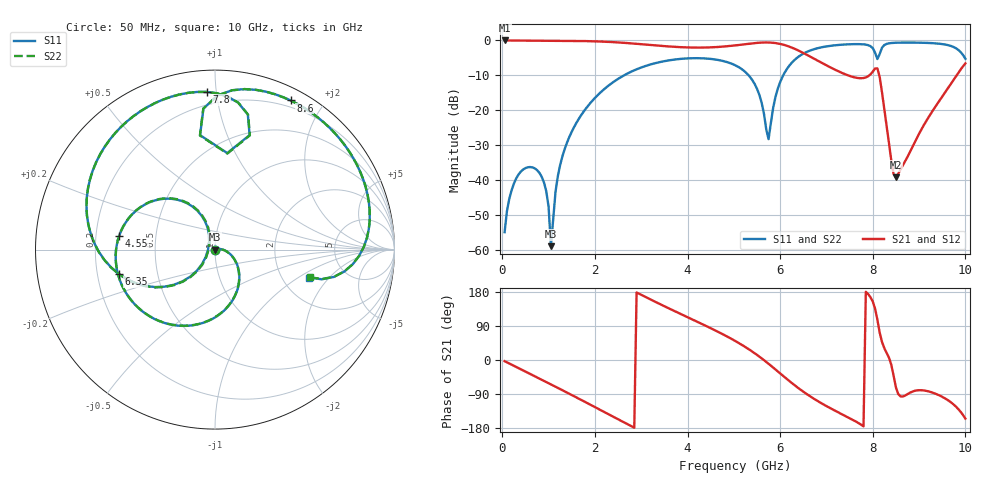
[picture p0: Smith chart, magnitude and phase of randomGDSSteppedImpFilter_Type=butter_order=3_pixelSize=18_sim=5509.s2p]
! freq	dB(S11)	phase(S11)	dB(S12)	phase(S12)
!  dB(S21)	phase(S21)	dB(S22)	phase(S22)
!S-par simulation data
#  GHz  S  DB  R 50
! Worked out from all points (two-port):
!   200 points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, 50 MHz to 10 GHz, reference 50 ohm
!   highest |S21| = 0.00 dB at 50 MHz (marker M1); lowest = -39.2 dB at 8.5 GHz (marker M2)
!   |S21| within 3 dB of the highest: start of sweep to 6.413 GHz
!   lowest |S11| = -58.9 dB at 1.05 GHz (marker M3), VSWR 1.00, Z = 49.9 + j0.0533 ohm
!   |S11| at or under -10 dB: start of sweep to 2.628 GHz; 5.32 GHz to 6.066 GHz (746.6 MHz wide, 13.1 % of centre)
!   |S22| runs from -58.7 to -0.6 dB; largest |S21 - S12| = 0
!   S11 on the Smith chart (normalised r, x): 50 MHz: 1.00, -0.00; 4.55 GHz: 0.30, +0.06; 6.35 GHz: 0.29, -0.11; 7.8 GHz: 0.12, +0.94; 8.6 GHz: 0.13, +1.62; 10 GHz: 2.80, -1.25
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0.05  -54.88 -92.3  -0.00 -3.1  -0.00 -3.1  -54.87 -92.3
0.25  -41.00 -102.4  -0.02 -15.4  -0.02 -15.4  -41.00 -102.3
0.65  -36.33 -130.3  -0.06 -39.8  -0.06 -39.8  -36.32 -129.8
0.95  -43.19 -149.5  -0.07 -58.2  -0.07 -58.2  -43.17 -147.3
1.05  -58.88 152.0  -0.08 -64.3  -0.08 -64.3  -58.73 -103.2
1.25  -35.60 13.5  -0.09 -76.7  -0.09 -76.7  -35.62 12.0
1.75  -20.49 -18.5  -0.17 -108.2  -0.17 -108.2  -20.49 -19.0
2.55  -10.60 -70.0  -0.61 -159.6  -0.61 -159.6  -10.60 -70.4
3.4  -6.19 -122.4  -1.52 147.8  -1.52 147.8  -6.19 -122.6
4.55  -5.36 171.9  -1.95 81.0  -1.95 81.0  -5.36 171.6
5.05  -7.23 141.1  -1.38 48.9  -1.38 48.9  -7.24 140.7
5.5  -13.82 111.6  -0.70 13.5  -0.70 13.5  -13.84 110.6
5.75  -28.25 178.7  -0.59 -10.0  -0.59 -10.0  -28.99 179.4
6.35  -5.13 -166.0  -2.61 -70.1  -2.61 -70.1  -5.13 -165.8
6.7  -2.63 165.0  -4.98 -100.0  -4.98 -100.0  -2.63 165.1
7.8  -1.11 93.0  -10.76 -175.1  -10.76 -175.1  -1.12 93.0
8.1  -5.32 82.8  -8.00 105.9  -8.00 105.9  -5.36 82.7
8.35  -0.82 79.5  -29.41 6.0  -29.41 6.0  -0.83 79.6
8.5  -0.65 69.1  -39.21 -72.6  -39.21 -72.6  -0.65 69.1
8.6  -0.62 63.1  -36.93 -96.1  -36.93 -96.1  -0.62 63.1
9.5  -1.04 13.8  -16.07 -97.1  -16.07 -97.1  -1.03 13.9
10  -5.23 -16.5  -6.57 -154.6  -6.57 -154.6  -5.19 -16.3
